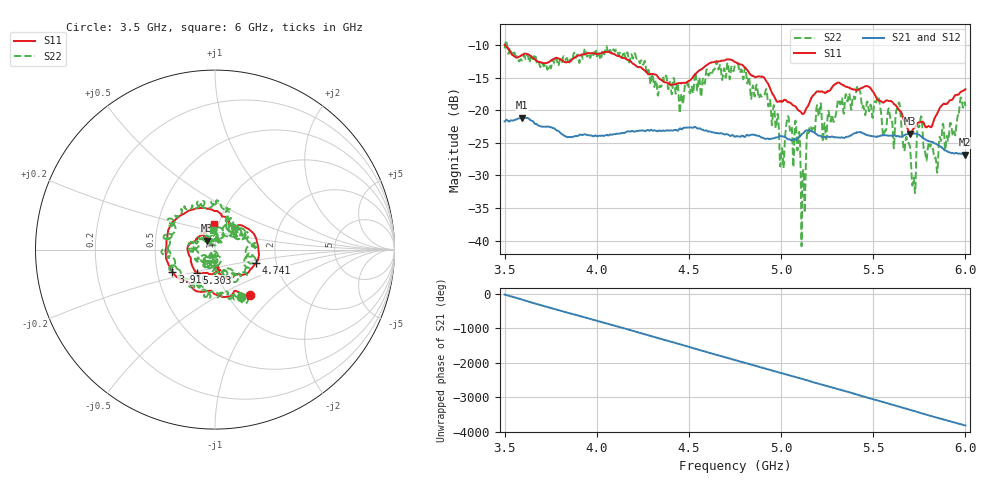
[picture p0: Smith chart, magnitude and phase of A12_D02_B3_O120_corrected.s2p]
! Created with skrf 1.9.0 (http://scikit-rf.org).
# Hz S RI R 50.0
!freq ReS11 ImS11 ReS21 ImS21 ReS12 ImS12 ReS22 ImS22
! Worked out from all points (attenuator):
!   1601 points, 3.5 GHz to 6 GHz, reference 50 ohm
!   highest |S21| = -21.09 dB at 3.594 GHz (marker M1); lowest = -26.8 dB at 5.998 GHz (marker M2)
!   lowest |S11| = -23.6 dB at 5.7 GHz (marker M3), VSWR 1.14, Z = 45.5 + j4.52 ohm
!   |S11| at or under -10 dB: 3.503 GHz to end of sweep
!   |S22| runs from -40.9 to -9.2 dB; largest |S21 - S12| = 0.001
!   S11 on the Smith chart (normalised r, x): 3.5 GHz: 1.26, -0.71; 3.916 GHz: 0.60, -0.16; 4.741 GHz: 1.57, -0.24; 5.303 GHz: 0.79, -0.21; 6 GHz: 0.95, +0.28
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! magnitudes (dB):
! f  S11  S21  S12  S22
! 3.5 GHz  -9.9  -21.7  -21.7  -10.5
! 3.594 GHz  -11.5  -21.1  -21.1  -12.3
! 3.916 GHz  -11.5  -23.8  -23.7  -11.4
! 3.917 GHz  -11.4  -23.8  -23.8  -11.4
! 4.334 GHz  -15.0  -23.1  -23.1  -17.4
! 4.741 GHz  -12.4  -23.9  -23.9  -14.0
! 4.75 GHz  -12.6  -24.0  -24.0  -13.0
! 4.928 GHz  -15.8  -24.3  -24.3  -18.9
! 5.005 GHz  -18.6  -24.0  -24.0  -25.8
! 5.034 GHz  -18.7  -24.4  -24.3  -21.2
! 5.088 GHz  -19.8  -24.3  -24.3  -26.1
! 5.12 GHz  -20.6  -23.5  -23.4  -29.2
! 5.167 GHz  -17.9  -23.2  -23.2  -23.0
! 5.303 GHz  -15.8  -24.1  -24.1  -19.6
! 5.584 GHz  -18.5  -23.9  -23.8  -19.7
! 5.638 GHz  -19.9  -24.0  -23.9  -18.9
! 5.7 GHz  -23.6  -23.6  -23.6  -25.7
! 5.72 GHz  -22.7  -23.5  -23.5  -30.3
! 5.753 GHz  -21.8  -23.9  -23.8  -21.9
! 5.841 GHz  -20.8  -25.1  -25.1  -27.7
! 5.998 GHz  -16.8  -26.8  -26.7  -19.0
! 6 GHz  -16.7  -26.8  -26.7  -19.3
